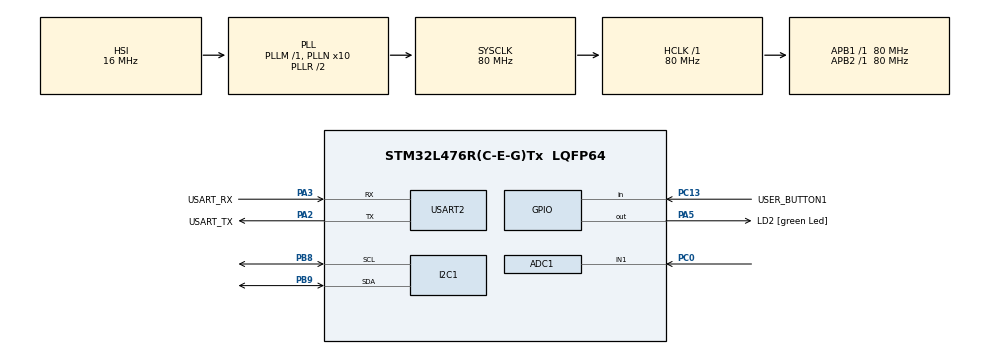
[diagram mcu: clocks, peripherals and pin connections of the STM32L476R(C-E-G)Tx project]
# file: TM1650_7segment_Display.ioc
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ADC1.Channel-0\#ChannelRegularConversion=ADC_CHANNEL_1
ADC1.ClockPrescaler=ADC_CLOCK_ASYNC_DIV32
ADC1.ContinuousConvMode=ENABLE
ADC1.DMAContinuousRequests=ENABLE
ADC1.NbrOfConversion=1
ADC1.NbrOfConversionFlag=1
ADC1.OffsetNumber-0\#ChannelRegularConversion=ADC_OFFSET_NONE
ADC1.Overrun=ADC_OVR_DATA_OVERWRITTEN
ADC1.OversamplingMode=ENABLE
ADC1.Rank-0\#ChannelRegularConversion=1
ADC1.Ratio=ADC_OVERSAMPLING_RATIO_256
ADC1.Resolution=ADC_RESOLUTION_12B
ADC1.RightBitShift=ADC_RIGHTBITSHIFT_8
ADC1.SamplingTime-0\#ChannelRegularConversion=ADC_SAMPLETIME_640CYCLES_5
ADC1.master=1
Dma.ADC1.0.Direction=DMA_PERIPH_TO_MEMORY
Dma.ADC1.0.Instance=DMA1_Channel1
Dma.ADC1.0.MemDataAlignment=DMA_MDATAALIGN_HALFWORD
Dma.ADC1.0.MemInc=DMA_MINC_ENABLE
Dma.ADC1.0.Mode=DMA_CIRCULAR
Dma.ADC1.0.PeriphDataAlignment=DMA_PDATAALIGN_HALFWORD
Dma.ADC1.0.PeriphInc=DMA_PINC_DISABLE
Dma.ADC1.0.Priority=DMA_PRIORITY_MEDIUM
Dma.Request0=ADC1
I2C1.Timing=0x10D19CE4
Mcu.Family=STM32L4
Mcu.Name=STM32L476R(C-E-G)Tx
Mcu.Package=LQFP64
NVIC.ADC1_2_IRQn=true\:2\:0\:true\:false\:true\:true\:true\:true
NVIC.DMA1_Channel1_IRQn=true\:3\:0\:true\:false\:true\:true\:true\:true
NVIC.I2C1_EV_IRQn=true\:3\:0\:true\:false\:true\:true\:true\:true
NVIC.PriorityGroup=NVIC_PRIORITYGROUP_4
NVIC.TIM1_BRK_TIM15_IRQn=true\:2\:0\:true\:false\:true\:true\:true\:true
NVIC.USART2_IRQn=true\:5\:0\:true\:false\:true\:true\:true\:true
PA13\ (JTMS-SWDIO).GPIO_Label=TMS
PA13\ (JTMS-SWDIO).Mode=Serial_Wire
PA13\ (JTMS-SWDIO).Signal=SYS_JTMS-SWDIO
PA14\ (JTCK-SWCLK).GPIO_Label=TCK
PA14\ (JTCK-SWCLK).Mode=Serial_Wire
PA14\ (JTCK-SWCLK).Signal=SYS_JTCK-SWCLK
PA2.GPIO_Label=USART_TX
PA2.GPIO_Mode=GPIO_MODE_AF_PP
PA2.GPIO_PuPd=GPIO_NOPULL
PA2.GPIO_Speed=GPIO_SPEED_FREQ_VERY_HIGH
PA2.Mode=Asynchronous
PA2.Signal=USART2_TX
PA3.GPIO_Label=USART_RX
PA3.GPIO_Mode=GPIO_MODE_AF_PP
PA3.GPIO_PuPd=GPIO_NOPULL
PA3.GPIO_Speed=GPIO_SPEED_FREQ_VERY_HIGH
PA3.Mode=Asynchronous
PA3.Signal=USART2_RX
PA5.GPIO_Label=LD2 [green Led]
PA5.GPIO_ModeDefaultOutputPP=GPIO_MODE_OUTPUT_PP
PA5.GPIO_PuPd=GPIO_NOPULL
PA5.GPIO_Speed=GPIO_SPEED_FREQ_LOW
PA5.Signal=GPIO_Output
PB3\ (JTDO-TRACESWO).GPIO_Label=SWO
PB3\ (JTDO-TRACESWO).Signal=SYS_JTDO-SWO
PB8.Mode=I2C
PB8.Signal=I2C1_SCL
PB9.Mode=I2C
PB9.Signal=I2C1_SDA
PC0.Signal=ADCx_IN1
PC13.GPIO_Label=USER_BUTTON1
PC13.GPIO_PuPd=GPIO_PULLUP
PC13.Signal=GPIO_Input
PC14-OSC32_IN\ (PC14).Mode=LSE-External-Oscillator
PC14-OSC32_IN\ (PC14).Signal=RCC_OSC32_IN
PC15-OSC32_OUT\ (PC15).Mode=LSE-External-Oscillator
PC15-OSC32_OUT\ (PC15).Signal=RCC_OSC32_OUT
PH0-OSC_IN\ (PH0).Signal=RCC_OSC_IN
PH1-OSC_OUT\ (PH1).Signal=RCC_OSC_OUT
ProjectManager.HeapSize=0x200
ProjectManager.StackSize=0x400
ProjectManager.TargetToolchain=STM32CubeIDE
RCC.ADCFreq_Value=64000000
RCC.AHBFreq_Value=80000000
RCC.APB1Freq_Value=80000000
RCC.APB1TimFreq_Value=80000000
RCC.APB2Freq_Value=80000000
RCC.APB2TimFreq_Value=80000000
RCC.CortexFreq_Value=80000000
RCC.HCLKFreq_Value=80000000
RCC.HSE_VALUE=8000000
RCC.HSI_VALUE=16000000
RCC.MSI_VALUE=4000000
RCC.PLLN=10
RCC.PLLSourceVirtual=RCC_PLLSOURCE_HSI
RCC.PREFETCH_ENABLE=1
RCC.SYSCLKFreq_VALUE=80000000
RCC.SYSCLKSource=RCC_SYSCLKSOURCE_PLLCLK
RCC.USBFreq_Value=64000000
RCC.VCOOutputFreq_Value=160000000
SH.ADCx_IN1.0=ADC1_IN1,IN1-Single-Ended
TIM15.Channel-Output\ Compare1\ No\ Output=TIM_CHANNEL_1
TIM15.ClockDivision=TIM_CLOCKDIVISION_DIV1
TIM15.Period=200
TIM15.Prescaler=7999
TIM15.Pulse-Output\ Compare1\ No\ Output=0
USART2.VirtualMode-Asynchronous=VM_ASYNC
VP_TIM15_VS_ClockSourceINT.Mode=Internal
VP_TIM15_VS_no_output1.Mode=Output Compare1 No Output
board=NUCLEO-L476RG

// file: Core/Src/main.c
/* USER CODE BEGIN Header */
/**
  ******************************************************************************
  * @file           : main.c
  * @brief          : Main program body
  ******************************************************************************
  * @attention
  *
  * Copyright (c) 2025 STMicroelectronics.
  * All rights reserved.
  *
  * This software is licensed under terms that can be found in the LICENSE file
  * in the root directory of this software component.
  * If no LICENSE file comes with this software, it is provided AS-IS.
  *
  ******************************************************************************
  */
/* USER CODE END Header */
#include "main.h"

/* USER CODE BEGIN Includes */
#include <stdio.h>
#include <stdlib.h>

#include "TM1650.h"
/* USER CODE END Includes */

ADC_HandleTypeDef hadc1;
DMA_HandleTypeDef hdma_adc1;

I2C_HandleTypeDef hi2c1;

TIM_HandleTypeDef htim15;

UART_HandleTypeDef huart2;

/* USER CODE BEGIN PV */

TM1650_HandleTypeDef htm1;

//////////// ADC//////

volatile static uint32_t ADC_value;

/* USER CODE END PV */

void SystemClock_Config(void);
static void MX_GPIO_Init(void);
static void MX_DMA_Init(void);
static void MX_USART2_UART_Init(void);
static void MX_I2C1_Init(void);
static void MX_TIM15_Init(void);
static void MX_ADC1_Init(void);

/* USER CODE BEGIN 0 */
int __io_putchar(int ch)
{
  if (ch == '\n') {
    __io_putchar('\r');
  }
  HAL_UART_Transmit(&huart2, (uint8_t*)&ch, 1, HAL_MAX_DELAY);
  return 1;
}

///////////////////////////////////////////////// ISR ///////////

void HAL_I2C_MasterTxCpltCallback(I2C_HandleTypeDef *hi2c)
{
	if (hi2c == &hi2c1)   //// ISR after I2C Tx has been completed
	{
		TM1650_current_digit_update();

	}
}

//////////////// KONIEC WYSWIETLACA I2C

///// ISR /// TIMER 15
void HAL_TIM_PeriodElapsedCallback( TIM_HandleTypeDef *htim)
{
	if (htim == &htim15)
	{
	 TM1650_show_next_digit(&htm1);
	}
}

/* USER CODE END 0 */

int main(void)
{

  /* MCU Configuration--------------------------------------------------------*/

  /* Reset of all peripherals, Initializes the Flash interface and the Systick. */
  HAL_Init();

  /* Configure the system clock */
  SystemClock_Config();

  /* Initialize all configured peripherals */
  MX_GPIO_Init();
  MX_DMA_Init();
  MX_USART2_UART_Init();
  MX_I2C1_Init();
  MX_TIM15_Init();
  MX_ADC1_Init();
  /* USER CODE BEGIN 2 */

  /////////////////// Initialize timer

HAL_TIM_Base_Start_IT(&htim15);
HAL_TIM_OC_Start_IT(&htim15, TIM_CHANNEL_1);

//////////////// ADC //////////

HAL_ADCEx_Calibration_Start(&hadc1, ADC_SINGLE_ENDED);

HAL_ADC_Start_DMA(&hadc1, (uint32_t*)&ADC_value, 1);

////////////// Initialize TM1650

////// DEMO - INIT

//range values :  0 , 1 ,2 ,3
/// RANGE_0, - positive integers in the range(0-9999)
/// RANGE_1 - integers in the range(-999,999)
/// RANGE_2, - positive and negative float numbers  (-99.9 : 999.9)
/// RANGE_3, - positive and negative float numbers  (-9.99:9.99)

TM1650_Init(&htm1, &hi2c1, 3, 3, ZEROS);

  /* USER CODE END 2 */

  /* Infinite loop */
  /* USER CODE BEGIN WHILE */

  while (1)

  {
	  uint16_t offset_value = 1222;
	 float ADC_value_float;
	 ADC_value_float = ((float)(ADC_value-offset_value))*(0.0005f);
	  TM1650_prepare_number(&htm1, ADC_value_float);

    /* USER CODE END WHILE */

  }
}

void SystemClock_Config(void)
{
  RCC_OscInitTypeDef RCC_OscInitStruct = {0};
  RCC_ClkInitTypeDef RCC_ClkInitStruct = {0};

  /** Configure the main internal regulator output voltage
  */
  if (HAL_PWREx_ControlVoltageScaling(PWR_REGULATOR_VOLTAGE_SCALE1) != HAL_OK)
  {
    Error_Handler();
  }

  /** Initializes the RCC Oscillators according to the specified parameters
  * in the RCC_OscInitTypeDef structure.
  */
  RCC_OscInitStruct.OscillatorType = RCC_OSCILLATORTYPE_HSI;
  RCC_OscInitStruct.HSIState = RCC_HSI_ON;
  RCC_OscInitStruct.HSICalibrationValue = RCC_HSICALIBRATION_DEFAULT;
  RCC_OscInitStruct.PLL.PLLState = RCC_PLL_ON;
  RCC_OscInitStruct.PLL.PLLSource = RCC_PLLSOURCE_HSI;
  RCC_OscInitStruct.PLL.PLLM = 1;
  RCC_OscInitStruct.PLL.PLLN = 10;
  RCC_OscInitStruct.PLL.PLLP = RCC_PLLP_DIV7;
  RCC_OscInitStruct.PLL.PLLQ = RCC_PLLQ_DIV2;
  RCC_OscInitStruct.PLL.PLLR = RCC_PLLR_DIV2;
  if (HAL_RCC_OscConfig(&RCC_OscInitStruct) != HAL_OK)
  {
    Error_Handler();
  }

  /** Initializes the CPU, AHB and APB buses clocks
  */
  RCC_ClkInitStruct.ClockType = RCC_CLOCKTYPE_HCLK|RCC_CLOCKTYPE_SYSCLK
                              |RCC_CLOCKTYPE_PCLK1|RCC_CLOCKTYPE_PCLK2;
  RCC_ClkInitStruct.SYSCLKSource = RCC_SYSCLKSOURCE_PLLCLK;
  RCC_ClkInitStruct.AHBCLKDivider = RCC_SYSCLK_DIV1;
  RCC_ClkInitStruct.APB1CLKDivider = RCC_HCLK_DIV1;
  RCC_ClkInitStruct.APB2CLKDivider = RCC_HCLK_DIV1;

  if (HAL_RCC_ClockConfig(&RCC_ClkInitStruct, FLASH_LATENCY_4) != HAL_OK)
  {
    Error_Handler();
  }
}

static void MX_ADC1_Init(void)
{

  ADC_MultiModeTypeDef multimode = {0};
  ADC_ChannelConfTypeDef sConfig = {0};

  /** Common config
  */
  hadc1.Instance = ADC1;
  hadc1.Init.ClockPrescaler = ADC_CLOCK_ASYNC_DIV32;
  hadc1.Init.Resolution = ADC_RESOLUTION_12B;
  hadc1.Init.DataAlign = ADC_DATAALIGN_RIGHT;
  hadc1.Init.ScanConvMode = ADC_SCAN_DISABLE;
  hadc1.Init.EOCSelection = ADC_EOC_SINGLE_CONV;
  hadc1.Init.LowPowerAutoWait = DISABLE;
  hadc1.Init.ContinuousConvMode = ENABLE;
  hadc1.Init.NbrOfConversion = 1;
  hadc1.Init.DiscontinuousConvMode = DISABLE;
  hadc1.Init.ExternalTrigConv = ADC_SOFTWARE_START;
  hadc1.Init.ExternalTrigConvEdge = ADC_EXTERNALTRIGCONVEDGE_NONE;
  hadc1.Init.DMAContinuousRequests = ENABLE;
  hadc1.Init.Overrun = ADC_OVR_DATA_OVERWRITTEN;
  hadc1.Init.OversamplingMode = ENABLE;
  hadc1.Init.Oversampling.Ratio = ADC_OVERSAMPLING_RATIO_256;
  hadc1.Init.Oversampling.RightBitShift = ADC_RIGHTBITSHIFT_8;
  hadc1.Init.Oversampling.TriggeredMode = ADC_TRIGGEREDMODE_SINGLE_TRIGGER;
  hadc1.Init.Oversampling.OversamplingStopReset = ADC_REGOVERSAMPLING_CONTINUED_MODE;
  if (HAL_ADC_Init(&hadc1) != HAL_OK)
  {
    Error_Handler();
  }

  /** Configure the ADC multi-mode
  */
  multimode.Mode = ADC_MODE_INDEPENDENT;
  if (HAL_ADCEx_MultiModeConfigChannel(&hadc1, &multimode) != HAL_OK)
  {
    Error_Handler();
  }

  /** Configure Regular Channel
  */
  sConfig.Channel = ADC_CHANNEL_1;
  sConfig.Rank = ADC_REGULAR_RANK_1;
  sConfig.SamplingTime = ADC_SAMPLETIME_640CYCLES_5;
  sConfig.SingleDiff = ADC_SINGLE_ENDED;
  sConfig.OffsetNumber = ADC_OFFSET_NONE;
  sConfig.Offset = 0;
  if (HAL_ADC_ConfigChannel(&hadc1, &sConfig) != HAL_OK)
  {
    Error_Handler();
  }

}

static void MX_I2C1_Init(void)
{

  hi2c1.Instance = I2C1;
  hi2c1.Init.Timing = 0x10D19CE4;
  hi2c1.Init.OwnAddress1 = 0;
  hi2c1.Init.AddressingMode = I2C_ADDRESSINGMODE_7BIT;
  hi2c1.Init.DualAddressMode = I2C_DUALADDRESS_DISABLE;
  hi2c1.Init.OwnAddress2 = 0;
  hi2c1.Init.OwnAddress2Masks = I2C_OA2_NOMASK;
  hi2c1.Init.GeneralCallMode = I2C_GENERALCALL_DISABLE;
  hi2c1.Init.NoStretchMode = I2C_NOSTRETCH_DISABLE;
  if (HAL_I2C_Init(&hi2c1) != HAL_OK)
  {
    Error_Handler();
  }

  /** Configure Analogue filter
  */
  if (HAL_I2CEx_ConfigAnalogFilter(&hi2c1, I2C_ANALOGFILTER_ENABLE) != HAL_OK)
  {
    Error_Handler();
  }

  /** Configure Digital filter
  */
  if (HAL_I2CEx_ConfigDigitalFilter(&hi2c1, 0) != HAL_OK)
  {
    Error_Handler();
  }

}

static void MX_TIM15_Init(void)
{

  TIM_ClockConfigTypeDef sClockSourceConfig = {0};
  TIM_MasterConfigTypeDef sMasterConfig = {0};
  TIM_OC_InitTypeDef sConfigOC = {0};
  TIM_BreakDeadTimeConfigTypeDef sBreakDeadTimeConfig = {0};

  htim15.Instance = TIM15;
  htim15.Init.Prescaler = 7999;
  htim15.Init.CounterMode = TIM_COUNTERMODE_UP;
  htim15.Init.Period = 200;
  htim15.Init.ClockDivision = TIM_CLOCKDIVISION_DIV1;
  htim15.Init.RepetitionCounter = 0;
  htim15.Init.AutoReloadPreload = TIM_AUTORELOAD_PRELOAD_DISABLE;
  if (HAL_TIM_Base_Init(&htim15) != HAL_OK)
  {
    Error_Handler();
  }
  sClockSourceConfig.ClockSource = TIM_CLOCKSOURCE_INTERNAL;
  if (HAL_TIM_ConfigClockSource(&htim15, &sClockSourceConfig) != HAL_OK)
  {
    Error_Handler();
  }
  if (HAL_TIM_OC_Init(&htim15) != HAL_OK)
  {
    Error_Handler();
  }
  sMasterConfig.MasterOutputTrigger = TIM_TRGO_RESET;
  sMasterConfig.MasterSlaveMode = TIM_MASTERSLAVEMODE_DISABLE;
  if (HAL_TIMEx_MasterConfigSynchronization(&htim15, &sMasterConfig) != HAL_OK)
  {
    Error_Handler();
  }
  sConfigOC.OCMode = TIM_OCMODE_TIMING;
  sConfigOC.Pulse = 0;
  sConfigOC.OCPolarity = TIM_OCPOLARITY_HIGH;
  sConfigOC.OCNPolarity = TIM_OCNPOLARITY_HIGH;
  sConfigOC.OCFastMode = TIM_OCFAST_DISABLE;
  sConfigOC.OCIdleState = TIM_OCIDLESTATE_RESET;
  sConfigOC.OCNIdleState = TIM_OCNIDLESTATE_RESET;
  if (HAL_TIM_OC_ConfigChannel(&htim15, &sConfigOC, TIM_CHANNEL_1) != HAL_OK)
  {
    Error_Handler();
  }
  sBreakDeadTimeConfig.OffStateRunMode = TIM_OSSR_DISABLE;
  sBreakDeadTimeConfig.OffStateIDLEMode = TIM_OSSI_DISABLE;
  sBreakDeadTimeConfig.LockLevel = TIM_LOCKLEVEL_OFF;
  sBreakDeadTimeConfig.DeadTime = 0;
  sBreakDeadTimeConfig.BreakState = TIM_BREAK_DISABLE;
  sBreakDeadTimeConfig.BreakPolarity = TIM_BREAKPOLARITY_HIGH;
  sBreakDeadTimeConfig.AutomaticOutput = TIM_AUTOMATICOUTPUT_DISABLE;
  if (HAL_TIMEx_ConfigBreakDeadTime(&htim15, &sBreakDeadTimeConfig) != HAL_OK)
  {
    Error_Handler();
  }

}

static void MX_USART2_UART_Init(void)
{

  huart2.Instance = USART2;
  huart2.Init.BaudRate = 115200;
  huart2.Init.WordLength = UART_WORDLENGTH_8B;
  huart2.Init.StopBits = UART_STOPBITS_1;
  huart2.Init.Parity = UART_PARITY_NONE;
  huart2.Init.Mode = UART_MODE_TX_RX;
  huart2.Init.HwFlowCtl = UART_HWCONTROL_NONE;
  huart2.Init.OverSampling = UART_OVERSAMPLING_16;
  huart2.Init.OneBitSampling = UART_ONE_BIT_SAMPLE_DISABLE;
  huart2.AdvancedInit.AdvFeatureInit = UART_ADVFEATURE_NO_INIT;
  if (HAL_UART_Init(&huart2) != HAL_OK)
  {
    Error_Handler();
  }

}

static void MX_DMA_Init(void)
{

  /* DMA controller clock enable */
  __HAL_RCC_DMA1_CLK_ENABLE();

  /* DMA interrupt init */
  /* DMA1_Channel1_IRQn interrupt configuration */
  HAL_NVIC_SetPriority(DMA1_Channel1_IRQn, 3, 0);
  HAL_NVIC_EnableIRQ(DMA1_Channel1_IRQn);

}

static void MX_GPIO_Init(void)
{
  GPIO_InitTypeDef GPIO_InitStruct = {0};

  /* GPIO Ports Clock Enable */
  __HAL_RCC_GPIOC_CLK_ENABLE();
  __HAL_RCC_GPIOH_CLK_ENABLE();
  __HAL_RCC_GPIOA_CLK_ENABLE();
  __HAL_RCC_GPIOB_CLK_ENABLE();

  /*Configure GPIO pin Output Level */
  HAL_GPIO_WritePin(LD2_GPIO_Port, LD2_Pin, GPIO_PIN_RESET);

  /*Configure GPIO pin : USER_BUTTON1_Pin */
  GPIO_InitStruct.Pin = USER_BUTTON1_Pin;
  GPIO_InitStruct.Mode = GPIO_MODE_INPUT;
  GPIO_InitStruct.Pull = GPIO_PULLUP;
  HAL_GPIO_Init(USER_BUTTON1_GPIO_Port, &GPIO_InitStruct);

  /*Configure GPIO pin : LD2_Pin */
  GPIO_InitStruct.Pin = LD2_Pin;
  GPIO_InitStruct.Mode = GPIO_MODE_OUTPUT_PP;
  GPIO_InitStruct.Pull = GPIO_NOPULL;
  GPIO_InitStruct.Speed = GPIO_SPEED_FREQ_LOW;
  HAL_GPIO_Init(LD2_GPIO_Port, &GPIO_InitStruct);

}

void Error_Handler(void)
{
  __disable_irq();
  while (1)
  {
  }
}
